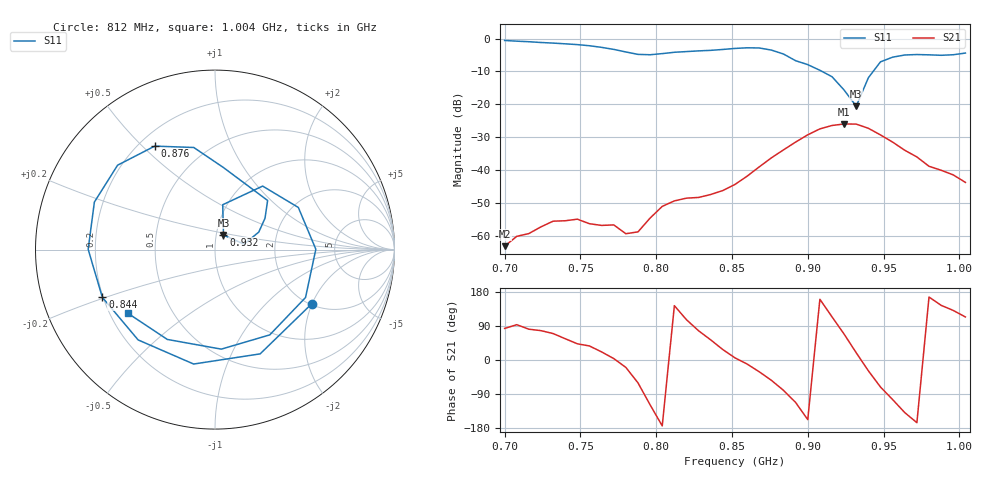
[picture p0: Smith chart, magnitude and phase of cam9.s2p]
# Hz S RI R 50
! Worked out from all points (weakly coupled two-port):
!   39 points, 700 MHz to 1.004 GHz, reference 50 ohm
!   highest |S21| = -25.96 dB at 924 MHz (marker M1); lowest = -63.1 dB at 700 MHz (marker M2)
!   lowest |S11| = -20.6 dB at 932 MHz (marker M3), VSWR 1.21, Z = 54.2 + j8.86 ohm
!   |S11| at or under -10 dB: 909.4 MHz to 943.2 MHz (33.76 MHz wide, 3.64 % of centre)
!   S12 and S22 are empty: the file has one direction only
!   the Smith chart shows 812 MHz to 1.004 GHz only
!   S11 on the Smith chart (normalised r, x): 812 MHz: 2.03, -1.99; 844 MHz: 0.20, -0.20; 876 MHz: 0.26, +0.54; 932 MHz: 1.08, +0.18; 1.004 GHz: 0.27, -0.30
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7e8  0.7664 0.5336  8.25e-05 0.000695  0 0  0 0
7.24e8  0.83 -0.2591  0.0003 0.00134  0 0  0 0
7.4e8  0.4424 -0.7025  0.00095 0.00141  0 0  0 0
7.56e8  -0.1978 -0.7504  0.00123 0.000924  0 0  0 0
7.72e8  -0.6576 -0.1853  0.00147 9.69e-05  0 0  0 0
7.8e8  -0.5797 0.2321  0.00102 -0.000362  0 0  0 0
7.88e8  -0.2214 0.5294  0.00057 -0.001  0 0  0 0
7.96e8  0.2607 0.5029  -0.00089 -0.00165  0 0  0 0
8.04e8  0.5715 0.145  -0.0028 -0.000303  0 0  0 0
8.12e8  0.5387 -0.3023  -0.00274 0.00204  0 0  0 0
8.28e8  -0.1191 -0.6376  0.000862 0.00375  0 0  0 0
8.44e8  -0.6277 -0.266  0.00435 0.00226  0 0  0 0
8.52e8  -0.7067 0.00155  0.00604 0.000594  0 0  0 0
8.76e8  -0.3358 0.5765  0.00912 -0.0124  0 0  0 0
9e8  0.2932 0.2737  -0.0318 -0.0133  0 0  0 0
9.08e8  0.2787 0.1747  -0.0399 0.0143  0 0  0 0
9.24e8  0.1618 0.0304  0.0187 0.0467  0 0  0 0
9.32e8  0.0472 0.081  0.0474 0.0163  0 0  0 0
9.4e8  0.0431 0.2501  0.038 -0.0207  0 0  0 0
9.56e8  0.4643 0.2348  -0.00665 -0.0258  0 0  0 0
9.8e8  0.3051 -0.4751  -0.0111 0.00274  0 0  0 0
1.004e9  -0.4846 -0.3551  -0.0026 0.00598  0 0  0 0
